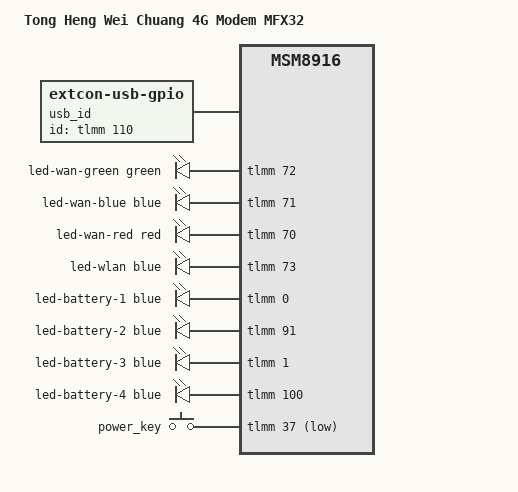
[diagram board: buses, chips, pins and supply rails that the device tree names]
// SPDX-License-Identifier: GPL-2.0-only
// https://github.com/CoiaPrant233/msm8916_linux

/dts-v1/;

#define LIMIT_CHARGE 1
#include "msm8916-thwc-common.dtsi"
#include "msm8916-thwc-battery.dtsi"

/ {
	model = "Tong Heng Wei Chuang 4G Modem MFX32";
	compatible = "thwc,mfx32-v2", "qcom,msm8916";

	usb_id: usb-id {
		compatible = "linux,extcon-usb-gpio";
		id-gpios = <&tlmm 110 GPIO_ACTIVE_HIGH>;
		pinctrl-names = "default";
		pinctrl-0 = <&usb_id_default>;
	};
};

&usb {
	extcon = <&pm8916_charger>, <&usb_id>;
};

&leds {
	led-wan-green {
		color = <LED_COLOR_ID_GREEN>;
		function = LED_FUNCTION_WAN;
		default-state = "off";
		gpios = <&tlmm 72 GPIO_ACTIVE_HIGH>;
	};

	led-wan-blue {
		color = <LED_COLOR_ID_BLUE>;
		function = LED_FUNCTION_WAN;
		default-state = "off";
		gpios = <&tlmm 71 GPIO_ACTIVE_HIGH>;
	};

	led-wan-red {
		color = <LED_COLOR_ID_RED>;
		function = LED_FUNCTION_WAN;
		default-state = "off";
		gpios = <&tlmm 70 GPIO_ACTIVE_HIGH>;
	};

	led-wlan {
		color = <LED_COLOR_ID_BLUE>;
		function = LED_FUNCTION_WLAN;
		default-state = "off";
		gpios = <&tlmm 73 GPIO_ACTIVE_HIGH>;
	};

	led-battery-1 {
		color = <LED_COLOR_ID_BLUE>;
		function = LED_FUNCTION_POWER;
		default-state = "off";
		gpios = <&tlmm 0 GPIO_ACTIVE_HIGH>;
	};

	led-battery-2 {
		color = <LED_COLOR_ID_BLUE>;
		function = LED_FUNCTION_POWER;
		default-state = "off";
		gpios = <&tlmm 91 GPIO_ACTIVE_HIGH>;
	};

	led-battery-3 {
		color = <LED_COLOR_ID_BLUE>;
		function = LED_FUNCTION_POWER;
		default-state = "off";
		gpios = <&tlmm 1 GPIO_ACTIVE_HIGH>;
	};

	led-battery-4 {
		color = <LED_COLOR_ID_BLUE>;
		function = LED_FUNCTION_POWER;
		default-state = "off";
		gpios = <&tlmm 100 GPIO_ACTIVE_HIGH>;
	};
};

&gpio_leds_default {
	pins = "gpio72", "gpio71", "gpio70", "gpio73", "gpio0", "gpio91", "gpio1", "gpio100";
};

&power_key {
	gpios = <&tlmm 37 GPIO_ACTIVE_LOW>;
};

&button_default {
	pins = "gpio37";
};

&sim_ctrl_default {
	ftest-en-pins {
		function = "gpio";
		drive-strength = <2>;
		pins = "gpio32";
		bias-disable;
		output-high;
	};

	sim-en-pins {
		function = "gpio";
		drive-strength = <2>;
		pins = "gpio119";
		bias-disable;
		output-high;
	};

	esim-en-pins {
		function = "gpio";
		drive-strength = <2>;
		pins = "gpio14", "gpio12";
		bias-disable;
		output-low;
	};

	sim-hotplug-pins {
		function = "gpio";
		drive-strength = <2>;
		pins = "gpio114";
		bias-disable;
		output-low;
	};

	usb_id_default: usb-id-default {
		pins = "gpio110";
		function = "gpio";
		drive-strength = <8>;
		bias-pull-up;
	};
};
